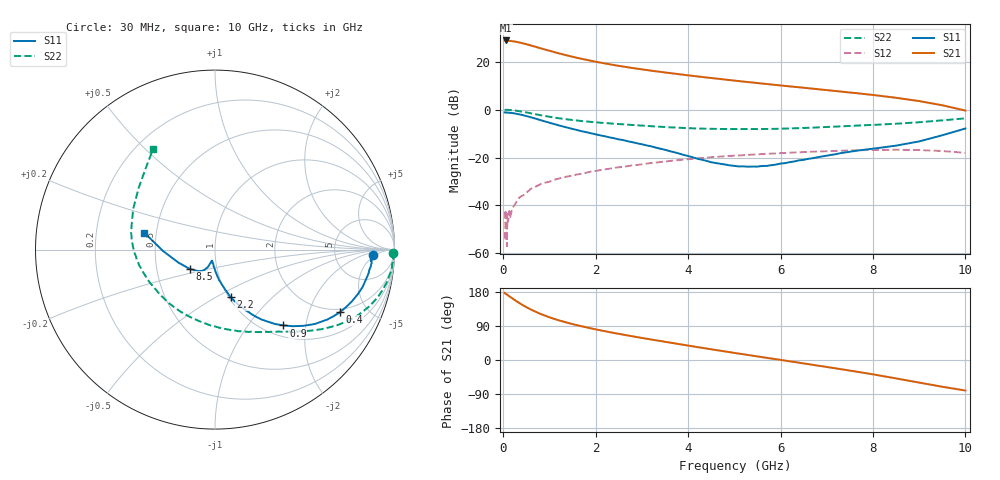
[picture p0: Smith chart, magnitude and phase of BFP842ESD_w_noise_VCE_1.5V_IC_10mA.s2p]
! Infineon Technologies  Discrete & RF Semiconductors
! BFP842ESD
! VCE =  1.5 V,  IC =  10 mA
! Common Emitter S-Parameters:  May 2012
# GHz  S  MA  R  50
!  f  S11  S21  S12  S22
! GHz  MAG  ANG  MAG  ANG  MAG  ANG  MAG  ANG
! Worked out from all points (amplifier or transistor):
!   99 points, 30 MHz to 10 GHz, reference 50 ohm
!   highest |S21| = 29.0 dB at 60 MHz (marker M1)
!   |S21| within 3 dB of that: start of sweep to 761.1 MHz
!   unconditionally stable (mu >= 1): 2.71 GHz to end of sweep
!   at 350 MHz: K = 0.26, MSG = 32.4 dB, |S12| = -36.7 dB
!   at 3.5 GHz: K = 1.07, MAG = 17.0 dB, |S12| = -21.7 dB
!   at 10 GHz: K = 1.97, MAG = 3.2 dB, |S12| = -18.0 dB
!   lowest NFmin = 0.59 dB at 450 MHz
!   S11 on the Smith chart (normalised r, x): 30 MHz: 14, -4; 400 MHz: 1.84, -3.26; 900 MHz: 1.21, -1.51; 2.2 GHz: 1.02, -0.58; 8.5 GHz: 0.74, -0.16; 10 GHz: 0.43, +0.10
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0.03  0.8782 -2.0  27.83 177.2  0.002 85.5  0.9932 -1.1
0.05  0.8739 -4.3  27.61 175.0  0.008 34.3  0.9958 -3.0
0.06  0.8704 -3.9  28.03 174.2  0.0039 -178.0  0.9925 -2.8
0.08  0.8734 -5.7  27.78 172.5  0.0014 117.1  0.9923 -4.0
0.09  0.8721 -6.5  27.39 172.0  0.0067 93.7  0.9896 -4.7
0.11  0.8667 -7.9  27.8 169.9  0.0049 77.1  0.9902 -5.8
0.25  0.8331 -17.4  26.65 158.2  0.0102 77.0  0.9599 -13.6
0.4  0.7789 -26.6  24.75 146.5  0.0157 75.6  0.9131 -20.5
0.5  0.7363 -32.0  23.44 139.5  0.0184 69.1  0.8758 -24.7
0.6  0.6936 -36.7  21.99 133.2  0.0222 67.5  0.8395 -28.3
0.7  0.6501 -40.8  20.66 127.4  0.0245 65.6  0.8036 -31.5
0.9  0.5691 -47.9  18.15 117.3  0.0297 61.6  0.7392 -36.9
1.2  0.4707 -56.1  15.09 104.8  0.0362 57.8  0.6631 -43.3
1.4  0.4189 -60.1  13.5 97.9  0.0403 55.2  0.625 -46.9
1.7  0.354 -65.0  11.56 88.9  0.0457 52.6  0.5777 -52.2
2.2  0.2782 -71.9  9.28 76.0  0.0565 47.6  0.5265 -60.8
2.7  0.2182 -76.7  7.688 64.6  0.0661 42.4  0.4862 -69.9
3.4  0.1529 -84.4  6.176 50.2  0.0807 35.2  0.4397 -85.1
5.1  0.065 -104.3  3.963 16.9  0.1106 13.5  0.3928 -127.8
6.7  0.0968 -111.1  2.748 -12.8  0.1322 -7.8  0.4221 -163.8
8.5  0.1772 -142.6  1.776 -48.6  0.1453 -37.8  0.5085 153.8
10  0.4041 166.6  0.958 -80.5  0.1252 -67.9  0.6591 121.5
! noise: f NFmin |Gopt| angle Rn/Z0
0.45  0.59  0.14  2  0.09
0.9  0.59  0.14  5  0.09
1.5  0.61  0.15  13  0.09
1.9  0.62  0.14  21  0.08
2.4  0.63  0.12  27  0.08
3.5  0.71  0.05  116  0.08
4  0.74  0.06  139  0.08
5  0.8  0.07  -173  0.08
5.5  0.92  0.08  -153  0.09
6  1.03  0.1  -143  0.09
